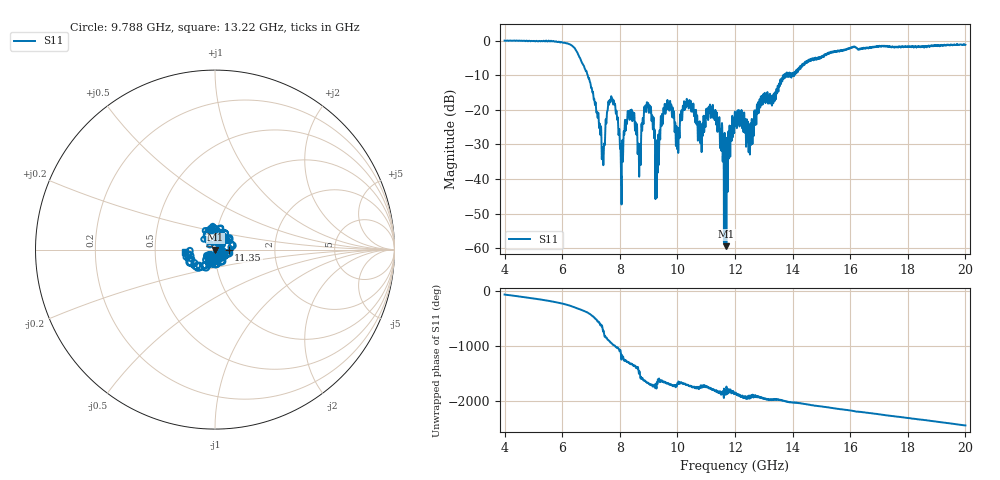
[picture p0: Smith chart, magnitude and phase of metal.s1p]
[Version] 2.0
! Rohde & Schwarz Vector Network Analyzer
! Rohde-Schwarz,ZNL20-2Port,1323001220200009,1.71.1.10-23.02.1.238
! Port Assignments:
! Nominal Port -> Actual Test Port
!  1 -> 1
! Created: GMT+2 2025-01-17 12:41:13
# Hz S RI R 50
[Number of Ports] 1
! freq[Hz]  S11[Re]  S11[Im]
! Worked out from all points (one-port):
!   16001 points, 4 GHz to 20 GHz, reference 50 ohm
!   lowest |S11| = -59.4 dB at 11.7 GHz (marker M1), VSWR 1.00, Z = 50.1 - j0.0274 ohm
!   |S11| at or under -10 dB: 6.887 GHz to 13.66 GHz (6.777 GHz wide, 66 % of centre); 13.66636 GHz to 13.70257 GHz (36.21 MHz wide, 0.265 % of centre); 13.71806 GHz to 13.7447 GHz (26.63 MHz wide, 0.194 % of centre)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
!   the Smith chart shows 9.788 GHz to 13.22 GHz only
!   S11 on the Smith chart (normalised r, x): 9.788 GHz: 0.93, +0.22; 11.35 GHz: 1.17, -0.00; 13.22 GHz: 0.71, -0.01
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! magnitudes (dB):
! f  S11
! 4 GHz  0.0
! 6 GHz  -0.5
! 6.868 GHz  -9.7
! 7.407 GHz  -31.0
! 7.626 GHz  -18.5
! 7.766 GHz  -18.4
! 8 GHz  -29.7
! 8.082 GHz  -29.0
! 8.343 GHz  -22.8
! 8.687 GHz  -31.4
! 9.005 GHz  -20.5
! 9.299 GHz  -28.8
! 9.495 GHz  -24.0
! 9.788 GHz  -18.5
! 10 GHz  -26.7
! 10.3 GHz  -19.3
! 10.78 GHz  -23.5
! 11.07 GHz  -22.9
! 11.35 GHz  -22.3
! 11.7 GHz  -59.4
! 12 GHz  -20.7
! 12.54 GHz  -24.0
! 12.92 GHz  -18.6
! 13.22 GHz  -15.5
! 14 GHz  -10.1
! 16 GHz  -2.1
! 18 GHz  -1.6
! 20 GHz  -1.2
